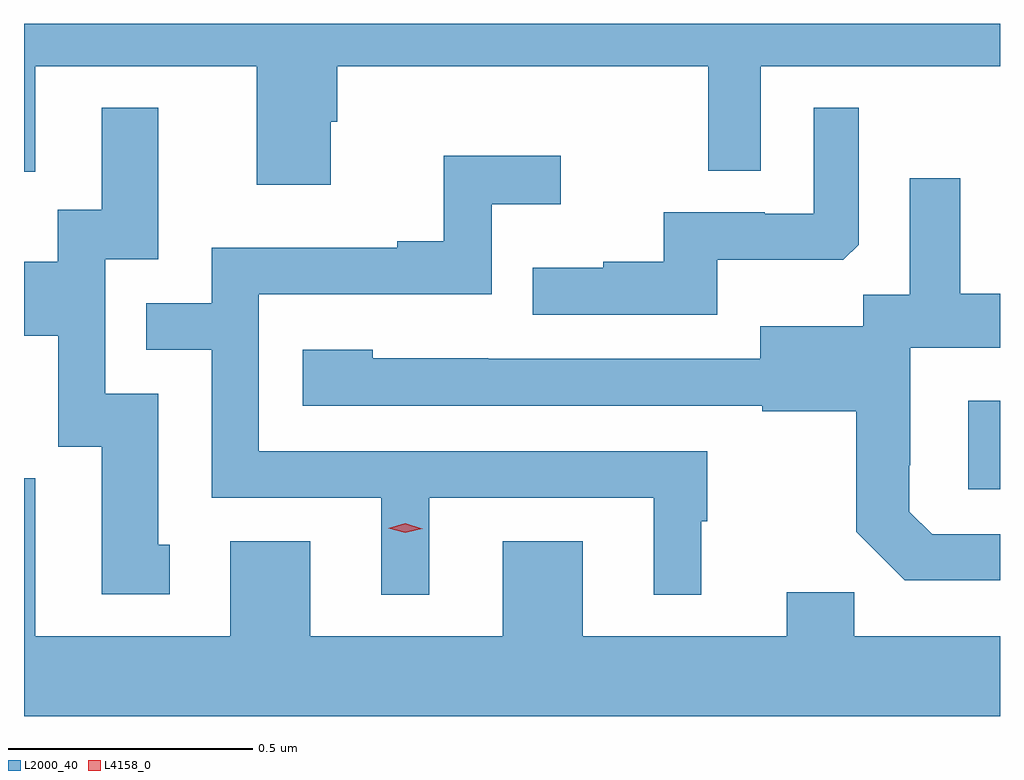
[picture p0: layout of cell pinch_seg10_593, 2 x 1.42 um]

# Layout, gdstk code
import gdstk
lib = gdstk.Library(unit=1e-6, precision=1e-09)
def R(c, l, rs):  # rectangles x0, y0, x1, y1
    for r in rs: c.add(gdstk.rectangle(r[:2], r[2:], *l))
def P(c, l, *ps):  # polygons
    for p in ps: c.add(gdstk.Polygon(p, *l))
L2000_40 = (2000, 40)
L4158_0 = (4158, 0)

pinch_seg10_593 = lib.new_cell('pinch_seg10_593')
R(pinch_seg10_593, L2000_40, [(323.381,1263.486,323.446,1263.667)])
P(pinch_seg10_593, L2000_40, [(322.075,1264.239),(322.088,1264.239),(322.088,1264.352),(322.848,1264.352),(322.848,1264.138),(322.956,1264.138),(322.956,1264.352),(323.446,1264.352),(323.446,1264.44),(321.446,1264.44),(321.446,1264.136),(321.469,1264.136),(321.469,1264.352),(321.923,1264.352),(321.923,1264.11),(322.075,1264.11)],
  [(321.745,1263.372),(321.721,1263.372),(321.721,1263.681),(321.612,1263.681),(321.612,1263.957),(321.721,1263.957),(321.721,1264.267),(321.605,1264.267),(321.605,1264.058),(321.515,1264.058),(321.515,1263.952),(321.446,1263.952),(321.446,1263.8),(321.516,1263.8),(321.516,1263.573),(321.605,1263.573),(321.605,1263.27),(321.745,1263.27)],
  [(322.867,1263.956),(323.125,1263.956),(323.157,1263.987),(323.157,1264.267),(323.064,1264.267),(323.064,1264.05),(322.964,1264.05),(322.964,1264.053),(322.757,1264.053),(322.757,1263.952),(322.633,1263.952),(322.633,1263.94),(322.489,1263.94),(322.489,1263.843),(322.867,1263.843)],
  [(322.276,1263.468),(322.736,1263.468),(322.736,1263.269),(322.834,1263.269),(322.834,1263.42),(322.846,1263.42),(322.846,1263.564),(321.927,1263.564),(321.927,1263.885),(322.404,1263.885),(322.404,1264.07),(322.546,1264.07),(322.546,1264.169),(322.306,1264.169),(322.306,1263.994),(322.211,1263.994),(322.211,1263.981),(321.831,1263.981),(321.831,1263.867),(321.697,1263.867),(321.697,1263.771),(321.831,1263.771),(321.831,1263.468),(322.178,1263.468),(322.178,1263.269),(322.276,1263.269)],
  [(323.446,1263.393),(323.307,1263.393),(323.26,1263.44),(323.26,1263.535),(323.262,1263.535),(323.262,1263.776),(323.446,1263.776),(323.446,1263.886),(323.365,1263.886),(323.365,1264.123),(323.261,1264.123),(323.261,1263.884),(323.166,1263.884),(323.166,1263.82),(322.955,1263.82),(322.955,1263.753),(322.397,1263.753),(322.397,1263.754),(322.161,1263.754),(322.161,1263.772),(322.017,1263.772),(322.017,1263.657),(322.959,1263.657),(322.959,1263.645),(323.151,1263.645),(323.151,1263.399),(323.251,1263.299),(323.446,1263.299)],
  [(323.446,1263.184),(323.147,1263.184),(323.147,1263.275),(323.009,1263.275),(323.009,1263.184),(322.591,1263.184),(322.591,1263.379),(322.427,1263.379),(322.427,1263.184),(322.033,1263.184),(322.033,1263.379),(321.869,1263.379),(321.869,1263.184),(321.469,1263.184),(321.469,1263.508),(321.446,1263.508),(321.446,1263.02),(323.446,1263.02)])
P(pinch_seg10_593, L4158_0, [(322.227,1263.396),(322.192,1263.406),(322.191,1263.406),(322.192,1263.406),(322.227,1263.416),(322.262,1263.405),(322.263,1263.405),(322.262,1263.405)])

lib.write_gds('pinch_seg10_593.gds')
